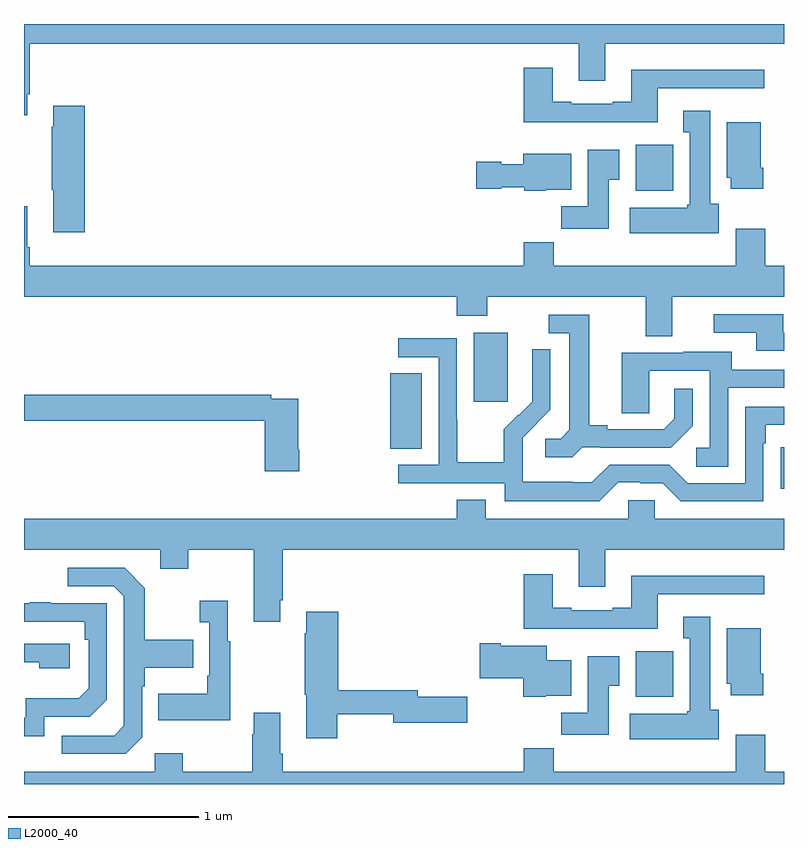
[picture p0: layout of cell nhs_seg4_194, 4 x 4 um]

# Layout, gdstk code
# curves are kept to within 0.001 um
import gdstk
lib = gdstk.Library(unit=1e-6, precision=1e-09)
def R(c, l, rs):  # rectangles x0, y0, x1, y1
    for r in rs: c.add(gdstk.rectangle(r[:2], r[2:], *l))
def P(c, l, *ps):  # polygons
    for p in ps: c.add(gdstk.Polygon(p, *l))
L2000_40 = (2000, 40)

nhs_seg4_194 = lib.new_cell('nhs_seg4_194')
R(nhs_seg4_194, L2000_40, [(122.219,817.358,122.416,817.6), (122.983,818.454,123,818.672), (120.928,818.665,121.093,819.062), (121.367,818.913,121.546,819.274), (122.219,820.022,122.416,820.264)])
P(nhs_seg4_194, L2000_40, [(119.017,820.531),(119.03,820.531),(119.03,820.796),(121.919,820.796),(121.919,820.602),(122.059,820.602),(122.059,820.796),(123,820.796),(123,820.9),(119,820.9),(119,820.419),(119.017,820.419)],
  [(122.335,820.563),(122.896,820.563),(122.896,820.66),(122.195,820.66),(122.195,820.492),(122.099,820.492),(122.099,820.479),(121.879,820.479),(121.879,820.492),(121.783,820.492),(121.783,820.669),(121.631,820.669),(121.631,820.382),(122.335,820.382)],
  [(119.321,820.471),(119.153,820.471),(119.153,820.358),(119.146,820.358),(119.146,820.027),(119.153,820.027),(119.153,819.804),(119.321,819.804)],
  [(122.656,819.954),(122.611,819.954),(122.611,820.444),(122.471,820.444),(122.471,820.331),(122.504,820.331),(122.504,819.948),(122.491,819.948),(122.491,819.934),(122.187,819.934),(122.187,819.8),(122.656,819.8)],
  [(122.891,820.144),(122.878,820.144),(122.878,820.384),(122.699,820.384),(122.699,820.092),(122.72,820.092),(122.72,820.032),(122.891,820.032)],
  [(122.077,820.081),(122.134,820.081),(122.134,820.237),(121.967,820.237),(121.967,819.94),(121.828,819.94),(121.828,819.822),(122.077,819.822)],
  [(121.746,820.028),(121.879,820.028),(121.879,820.216),(121.628,820.216),(121.628,820.162),(121.512,820.162),(121.512,820.175),(121.38,820.175),(121.38,820.033),(121.512,820.033),(121.512,820.04),(121.632,820.04),(121.632,820.022),(121.746,820.022)],
  [(122.413,819.464),(123,819.464),(123,819.628),(122.9,819.628),(122.9,819.823),(122.747,819.823),(122.747,819.628),(121.787,819.628),(121.787,819.752),(121.631,819.752),(121.631,819.628),(119.03,819.628),(119.03,819.724),(119.017,819.724),(119.017,819.94),(119,819.94),(119,819.464),(121.277,819.464),(121.277,819.365),(121.437,819.365),(121.437,819.464),(122.273,819.464),(122.273,819.256),(122.413,819.256)],
  [(123,819.276),(122.995,819.276),(122.995,819.372),(122.631,819.372),(122.631,819.276),(122.855,819.276),(122.855,819.18),(123,819.18)],
  [(121.938,818.673),(122.032,818.673),(122.032,818.67),(122.404,818.67),(122.52,818.786),(122.52,818.98),(122.423,818.98),(122.423,818.823),(122.366,818.766),(122.071,818.766),(122.071,818.789),(121.975,818.789),(121.975,819.369),(121.761,819.369),(121.761,819.273),(121.871,819.273),(121.871,818.765),(121.824,818.718),(121.743,818.718),(121.743,818.621),(121.886,818.621)],
  [(122.127,818.487),(122.243,818.487),(122.243,818.484),(122.361,818.484),(122.457,818.388),(122.892,818.388),(122.892,818.693),(122.905,818.693),(122.905,818.79),(123,818.79),(123,818.886),(122.796,818.886),(122.796,818.484),(122.493,818.484),(122.397,818.58),(122.082,818.58),(121.989,818.487),(121.889,818.487),(121.889,818.491),(121.626,818.491),(121.626,818.625),(121.624,818.625),(121.624,818.722),(121.77,818.87),(121.77,819.188),(121.674,819.188),(121.674,819.034),(121.676,819.034),(121.676,818.912),(121.605,818.841),(121.602,818.844),(121.525,818.767),(121.525,818.593),(121.281,818.593),(121.281,818.816),(121.278,818.816),(121.278,819.246),(120.969,819.246),(120.969,819.147),(121.182,819.147),(121.182,818.58),(120.969,818.58),(120.969,818.484),(121.53,818.484),(121.53,818.387),(122.027,818.387)],
  [(122.706,818.985),(123,818.985),(123,819.081),(122.725,819.081),(122.725,819.175),(122.471,819.175),(122.471,819.171),(122.147,819.171),(122.147,818.851),(122.292,818.851),(122.292,819.075),(122.61,819.075),(122.61,818.67),(122.538,818.67),(122.538,818.569),(122.706,818.569)],
  [(120.449,818.659),(120.444,818.659),(120.444,818.928),(120.302,818.928),(120.302,818.948),(119,818.948),(119,818.812),(120.266,818.812),(120.266,818.547),(120.449,818.547)],
  [(120.349,817.867),(120.362,817.867),(120.362,818.132),(121.919,818.132),(121.919,817.938),(122.059,817.938),(122.059,818.132),(123,818.132),(123,818.296),(122.319,818.296),(122.319,818.394),(122.181,818.394),(122.181,818.296),(121.429,818.296),(121.429,818.395),(121.277,818.395),(121.277,818.296),(119,818.296),(119,818.132),(119.717,818.132),(119.717,818.033),(119.865,818.033),(119.865,818.132),(120.209,818.132),(120.209,817.755),(120.349,817.755)],
  [(119.622,817.146),(119.622,817.415),(119.635,817.415),(119.635,817.511),(119.891,817.511),(119.891,817.659),(119.635,817.659),(119.635,817.931),(119.529,818.037),(119.229,818.037),(119.229,817.941),(119.472,817.941),(119.526,817.887),(119.526,817.206),(119.475,817.155),(119.199,817.155),(119.199,817.059),(119.535,817.059)],
  [(122.335,817.899),(122.896,817.899),(122.896,817.996),(122.195,817.996),(122.195,817.828),(122.099,817.828),(122.099,817.815),(121.879,817.815),(121.879,817.828),(121.783,817.828),(121.783,818.005),(121.631,818.005),(121.631,817.718),(122.335,817.718)],
  [(120.085,817.651),(120.073,817.651),(120.073,817.864),(119.925,817.864),(119.925,817.751),(119.976,817.751),(119.976,817.471),(119.964,817.471),(119.964,817.375),(119.707,817.375),(119.707,817.235),(120.085,817.235)],
  [(119.106,817.254),(119.346,817.254),(119.436,817.344),(119.436,817.851),(119.141,817.851),(119.141,817.856),(119.029,817.856),(119.029,817.851),(119,817.851),(119,817.755),(119.32,817.755),(119.32,817.658),(119.34,817.658),(119.34,817.404),(119.287,817.351),(119.01,817.351),(119.01,817.248),(119,817.248),(119,817.152),(119.106,817.152)],
  [(120.648,817.266),(120.944,817.266),(120.944,817.223),(121.333,817.223),(121.333,817.358),(121.072,817.358),(121.072,817.394),(120.653,817.394),(120.653,817.807),(120.485,817.807),(120.485,817.694),(120.478,817.694),(120.478,817.371),(120.485,817.371),(120.485,817.14),(120.648,817.14)],
  [(122.656,817.29),(122.611,817.29),(122.611,817.78),(122.471,817.78),(122.471,817.667),(122.504,817.667),(122.504,817.284),(122.491,817.284),(122.491,817.27),(122.187,817.27),(122.187,817.136),(122.656,817.136)],
  [(122.891,817.48),(122.878,817.48),(122.878,817.72),(122.699,817.72),(122.699,817.428),(122.72,817.428),(122.72,817.368),(122.891,817.368)],
  [(121.746,817.364),(121.879,817.364),(121.879,817.552),(121.75,817.552),(121.75,817.627),(121.51,817.627),(121.51,817.64),(121.398,817.64),(121.398,817.457),(121.628,817.457),(121.628,817.358),(121.746,817.358)],
  [(119.242,817.638),(119,817.638),(119,817.542),(119.081,817.542),(119.081,817.508),(119.242,817.508)],
  [(122.077,817.417),(122.134,817.417),(122.134,817.573),(121.967,817.573),(121.967,817.276),(121.828,817.276),(121.828,817.158),(122.077,817.158)],
  [(123,816.964),(122.9,816.964),(122.9,817.159),(122.747,817.159),(122.747,816.964),(121.787,816.964),(121.787,817.088),(121.631,817.088),(121.631,816.964),(120.362,816.964),(120.362,817.06),(120.349,817.06),(120.349,817.276),(120.209,817.276),(120.209,817.163),(120.202,817.163),(120.202,816.964),(119.835,816.964),(119.835,817.063),(119.688,817.063),(119.688,816.964),(119,816.964),(119,816.9),(123,816.9)])

lib.write_gds('nhs_seg4_194.gds')
